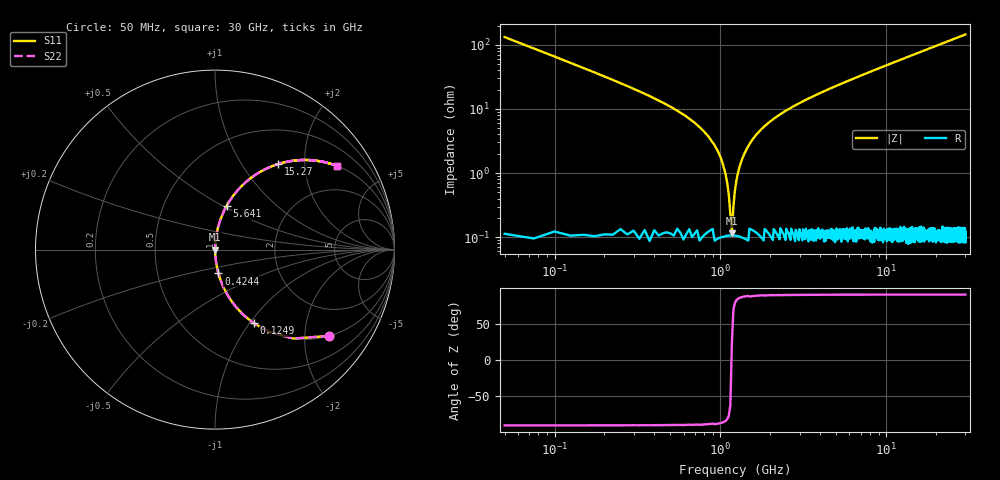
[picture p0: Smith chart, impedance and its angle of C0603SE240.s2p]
!	AVX Thin Film Operation 	Date: April 2014
!	Description: Accu-P® Series, Thin Film  SMD RF Capacitor
!	Part Number: 06033J240FBSTR
# MHZ S MA R 50
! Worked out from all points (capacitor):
!   1201 points, 50 MHz to 30 GHz, reference 50 ohm
!   read as one part in series: C = 24 pF near 199.8 MHz
!   lowest |Z| = 115 mohm at 1.173 GHz (marker M1)
!   series resonance near 1.169 GHz, so ESL is about 770 pH
!   S11 on the Smith chart (normalised r, x): 50 MHz: 1.00, -2.65; 124.9 MHz: 1.00, -1.05; 424.4 MHz: 1.00, -0.27; 5.641 GHz: 1.00, +0.52; 15.27 GHz: 1.00, +1.47; 30 GHz: 1.00, +2.91
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50  0.798 -37.0  0.602 52.9  0.602 52.9  0.798 -37.0
124.875  0.464 -62.2  0.885 27.7  0.885 27.7  0.464 -62.2
249.667  0.245 -75.5  0.968 14.2  0.968 14.2  0.245 -75.5
424.375  0.134 -81.8  0.99 7.7  0.99 7.7  0.134 -81.8
848.667  0.037 -86.2  0.998 2.1  0.998 2.1  0.037 -86.2
948.5  0.024 -85.9  0.999 1.4  0.999 1.4  0.024 -85.9
1073.292  0.009711 -82.8  0.999 0.6  0.999 0.6  0.009711 -82.8
1173.125  0.001206 21.8  0.999 -0.0  0.999 -0.0  0.001206 21.8
1272.958  0.009784 82.9  0.999 -0.6  0.999 -0.6  0.009784 82.9
1397.75  0.02 85.7  0.999 -1.2  0.999 -1.2  0.02 85.7
1547.5  0.032 86.2  0.998 -1.8  0.998 -1.8  0.032 86.2
1772.125  0.049 85.9  0.998 -2.8  0.998 -2.8  0.049 85.9
2071.625  0.068 85.1  0.997 -3.9  0.997 -3.9  0.068 85.1
3169.792  0.132 81.9  0.99 -7.6  0.99 -7.6  0.132 81.9
5041.667  0.225 76.7  0.973 -13.0  0.973 -13.0  0.225 76.7
5640.667  0.253 75.1  0.966 -14.7  0.966 -14.7  0.253 75.1
10058.29  0.434 64.2  0.9 -25.7  0.9 -25.7  0.434 64.2
15025  0.587 54.0  0.809 -35.9  0.809 -35.9  0.587 54.0
15274.58  0.593 53.5  0.804 -36.4  0.804 -36.4  0.593 53.5
20016.67  0.695 45.9  0.718 -44.1  0.718 -44.1  0.695 45.9
25033.29  0.771 39.5  0.636 -50.5  0.636 -50.5  0.771 39.5
30000  0.824 34.5  0.566 -55.5  0.566 -55.5  0.824 34.5
